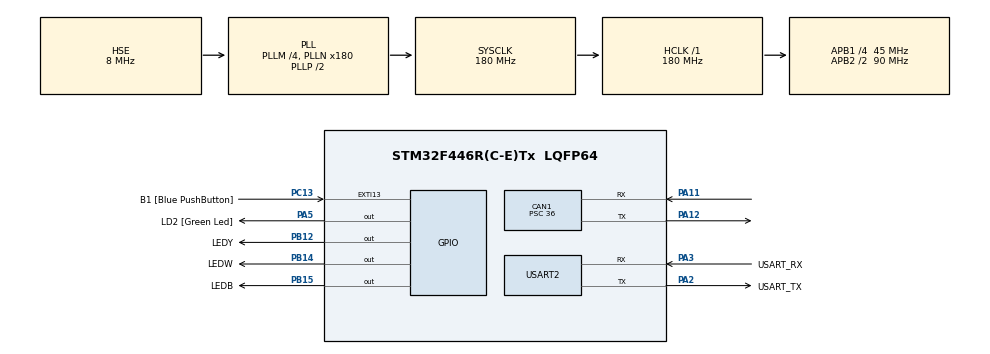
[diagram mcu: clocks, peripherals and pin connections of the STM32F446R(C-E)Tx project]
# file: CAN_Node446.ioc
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CAN1.BS1=CAN_BS1_16TQ
CAN1.BS2=CAN_BS2_8TQ
CAN1.CalculateBaudRate=50000
CAN1.CalculateTimeBit=20000
CAN1.CalculateTimeQuantum=800.0
CAN1.Mode=CAN_MODE_NORMAL
CAN1.Prescaler=36
Mcu.Family=STM32F4
Mcu.Name=STM32F446R(C-E)Tx
Mcu.Package=LQFP64
NVIC.CAN1_RX0_IRQn=true\:11\:0\:true\:false\:true\:true\:true\:true
NVIC.CAN1_RX1_IRQn=true\:11\:0\:true\:false\:true\:true\:true\:true
NVIC.EXTI15_10_IRQn=true\:14\:0\:true\:false\:true\:true\:true\:true
NVIC.PriorityGroup=NVIC_PRIORITYGROUP_4
NVIC.TIM6_DAC_IRQn=true\:14\:0\:true\:false\:true\:true\:true\:true
NVIC.USART2_IRQn=true\:10\:0\:true\:false\:true\:true\:true\:true
PA11.Mode=CAN_Activate
PA11.Signal=CAN1_RX
PA12.Mode=CAN_Activate
PA12.Signal=CAN1_TX
PA13.GPIO_Label=TMS
PA13.Mode=Serial_Wire
PA13.Signal=SYS_JTMS-SWDIO
PA14.GPIO_Label=TCK
PA14.Mode=Serial_Wire
PA14.Signal=SYS_JTCK-SWCLK
PA2.GPIO_Label=USART_TX
PA2.Mode=Asynchronous
PA2.Signal=USART2_TX
PA3.GPIO_Label=USART_RX
PA3.Mode=Asynchronous
PA3.Signal=USART2_RX
PA5.GPIO_Label=LD2 [Green Led]
PA5.Signal=GPIO_Output
PB12.GPIO_Label=LEDY
PB12.Signal=GPIO_Output
PB14.GPIO_Label=LEDW
PB14.Signal=GPIO_Output
PB15.GPIO_Label=LEDB
PB15.Signal=GPIO_Output
PB3.GPIO_Label=SWO
PB3.Signal=SYS_JTDO-SWO
PC13.GPIO_Label=B1 [Blue PushButton]
PC13.GPIO_ModeDefaultEXTI=GPIO_MODE_IT_FALLING
PC13.Signal=GPXTI13
PC14-OSC32_IN.Mode=LSE-External-Oscillator
PC14-OSC32_IN.Signal=RCC_OSC32_IN
PC15-OSC32_OUT.Mode=LSE-External-Oscillator
PC15-OSC32_OUT.Signal=RCC_OSC32_OUT
PH0-OSC_IN.Mode=HSE-External-Clock-Source
PH0-OSC_IN.Signal=RCC_OSC_IN
PH1-OSC_OUT.Mode=HSE-External-Clock-Source
PH1-OSC_OUT.Signal=RCC_OSC_OUT
ProjectManager.HeapSize=0x200
ProjectManager.StackSize=0x400
ProjectManager.TargetToolchain=STM32CubeIDE
RCC.48MHZClocksFreq_Value=84000000
RCC.AHBFreq_Value=180000000
RCC.APB1CLKDivider=RCC_HCLK_DIV4
RCC.APB1Freq_Value=45000000
RCC.APB1TimFreq_Value=90000000
RCC.APB2CLKDivider=RCC_HCLK_DIV2
RCC.APB2Freq_Value=90000000
RCC.APB2TimFreq_Value=180000000
RCC.CortexFreq_Value=180000000
RCC.FLatency-AdvancedSettings=FLASH_LATENCY_5
RCC.HCLKFreq_Value=180000000
RCC.HSE_VALUE=8000000
RCC.HSI_VALUE=16000000
RCC.PLLM=4
RCC.PLLN=180
RCC.PLLSourceVirtual=RCC_PLLSOURCE_HSE
RCC.SYSCLKFreq_VALUE=180000000
RCC.SYSCLKSource=RCC_SYSCLKSOURCE_PLLCLK
RCC.USBFreq_Value=180000000
RCC.VCOOutputFreq_Value=360000000
TIM6.AutoReloadPreload=TIM_AUTORELOAD_PRELOAD_ENABLE
TIM6.Period=50000
TIM6.Prescaler=900
USART2.VirtualMode=VM_ASYNC
VP_TIM6_VS_ClockSourceINT.Mode=Enable_Timer
board=NUCLEO-F446RE

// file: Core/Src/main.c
/* USER CODE BEGIN Header */
/**
  ******************************************************************************
  * @file           : main.c
  * @brief          : Main program body
  ******************************************************************************
  * @attention
  *
  * Copyright (c) 2022 STMicroelectronics.
  * All rights reserved.
  *
  * This software is licensed under terms that can be found in the LICENSE file
  * in the root directory of this software component.
  * If no LICENSE file comes with this software, it is provided AS-IS.
  *
  ******************************************************************************
  */
/* USER CODE END Header */
#include "main.h"

/* USER CODE BEGIN Includes */
#include "FLASH_M4.h"
#include <string.h>
#include "stdio.h"
/* USER CODE END Includes */

/* USER CODE BEGIN PD */
#define	FLASH_BASE_SECTOR_ADDRESS			0x08060000U
#define START_FRAME							(uint8_t)0x4A
#define END_FRAME							(uint8_t)0x56

/* USER CODE END PD */

 CAN_HandleTypeDef hcan1;

TIM_HandleTypeDef htim6;

UART_HandleTypeDef huart2;

/* USER CODE BEGIN PV */

// ************** CAN related variables **************** //
CAN_FilterTypeDef CANFilter;
CAN_TxHeaderTypeDef CANTXHeader;
CAN_RxHeaderTypeDef CANRXHeader;
uint8_t CANTXBuffer[8];
uint8_t CANRXBuffer[8];
uint32_t CANMailbox;
volatile uint8_t CANInitFlag = 0;
volatile uint8_t CANStopFlag = 0;
volatile uint8_t CANSendDataFlag = 0;
volatile uint8_t isCANConfig = 0;
volatile uint8_t CANSendData = 0;

uint32_t CANParamemeters[30] = {};

typedef enum {
	waitCmd = 0,
	CANListen,
	CANStop,
	resetMCU,
	writeFlashBuffer,
	readFlashBuffer,
	writeFlashBufferToFlash,
	readFlashToFlashBuffer,
	writeDefaultToFlash,
	CANStart
}StateType;

StateType state;

uint32_t flashBuffer[30];
volatile uint8_t writeFlashFlag = 0;

uint32_t counter = 0;
uint8_t aux;

// ************* UART related variables ************** //
uint8_t uRXBuffer[10];
volatile uint8_t cmdReceivedFlag = 0;

typedef struct {
	uint8_t startFrame;
	uint8_t actionCode;
	uint8_t bufferAddress;
	union {
		uint32_t word;
		uint8_t byte[4];
	} data;
	union {
		uint16_t hWord;
		uint8_t byte[2];
	} errorCheck;
	uint8_t endFrame;
} CommandFrameType;

CommandFrameType uCommand;

/* USER CODE END PV */

void SystemClock_Config(void);
static void MX_GPIO_Init(void);
static void MX_USART2_UART_Init(void);
static void MX_CAN1_Init(void);
static void MX_TIM6_Init(void);
/* USER CODE BEGIN PFP */
void CANFilterConfiguration(CAN_FilterTypeDef *_CANFilter);
void CANInit(void);
void CANConfig(void);

void CANFlashDefaults(void);
void loadParamFromFlash(void);
/* USER CODE END PFP */

/* USER CODE BEGIN 0 */
char *initMsg[5] = {
		"//**********************************************//\r\n",
		"// *****           CANbus Reader          ***** //\r\n",
		"// *****     Prototype version v1.0.1     ***** //\r\n",
		"// *****    Designed by: JD Villarroel    ***** //\r\n",
		"//**********************************************//\r\n"
};

/* USER CODE END 0 */

int main(void)
{

  /* MCU Configuration--------------------------------------------------------*/

  /* Reset of all peripherals, Initializes the Flash interface and the Systick. */
  HAL_Init();

  /* Configure the system clock */
  SystemClock_Config();

  /* Initialize all configured peripherals */
  MX_GPIO_Init();
  MX_USART2_UART_Init();
  MX_CAN1_Init();
  MX_TIM6_Init();
  /* USER CODE BEGIN 2 */

  // Send initial message to a serial console.
  for (aux = 0; aux < 5; aux++)
  {
	  HAL_UART_Transmit(&huart2, (uint8_t*)initMsg[aux], strlen(initMsg[aux]), 1000);
  }

  // Initialize interrupt reception from console.
  HAL_UART_Receive_IT(&huart2, uRXBuffer, 10);

  // Load params from flash.
  loadParamFromFlash();

  // Initialize timer with interrupts.
  HAL_TIM_Base_Start_IT(&htim6);

  /* USER CODE END 2 */

  /* Infinite loop */
  /* USER CODE BEGIN WHILE */
  while (1)
  {
	  // Check for received commands from console.
	  switch(state)
	  {
		  case waitCmd:
			  break;

		  case CANListen:
			  CANConfig();
			  CANSendData = 0;
			  state = waitCmd;
			  break;

		  case CANStop:
			  CANSendData = 0;
			  break;

		  case resetMCU:
			  HAL_NVIC_SystemReset();
			  break;

		  case writeFlashBuffer:
			  flashBuffer[uCommand.bufferAddress] = uCommand.data.word;
			  state = waitCmd;
			  break;

		  case readFlashBuffer:
			  break;

		  case writeFlashBufferToFlash:
			  Flash_Write_Data(FLASH_BASE_SECTOR_ADDRESS, flashBuffer, 30);
			  state = waitCmd;
			  break;

		  case readFlashToFlashBuffer:
			  break;

		  case writeDefaultToFlash:
			  CANFlashDefaults();
			  state = waitCmd;
			  break;

		  case CANStart:
			  CANConfig();
			  CANSendData = 1;
			  state = waitCmd;
			  break;

		  default:
			  break;
	  }

	  if (CANSendDataFlag && CANSendData)
	  {
		  // Put data in buffer to be transmitted.
		  if (HAL_CAN_AddTxMessage(&hcan1, &CANTXHeader, CANTXBuffer, &CANMailbox) != HAL_OK)
		  {
			  Error_Handler();
		  }

		  HAL_GPIO_TogglePin(LEDW_GPIO_Port, LEDW_Pin);

		  // Reset flag.
		  CANSendDataFlag = 0;
	  }
    /* USER CODE END WHILE */

  }
}

void SystemClock_Config(void)
{
  RCC_OscInitTypeDef RCC_OscInitStruct = {0};
  RCC_ClkInitTypeDef RCC_ClkInitStruct = {0};

  /** Configure the main internal regulator output voltage
  */
  __HAL_RCC_PWR_CLK_ENABLE();
  __HAL_PWR_VOLTAGESCALING_CONFIG(PWR_REGULATOR_VOLTAGE_SCALE1);

  /** Initializes the RCC Oscillators according to the specified parameters
  * in the RCC_OscInitTypeDef structure.
  */
  RCC_OscInitStruct.OscillatorType = RCC_OSCILLATORTYPE_HSE;
  RCC_OscInitStruct.HSEState = RCC_HSE_BYPASS;
  RCC_OscInitStruct.PLL.PLLState = RCC_PLL_ON;
  RCC_OscInitStruct.PLL.PLLSource = RCC_PLLSOURCE_HSE;
  RCC_OscInitStruct.PLL.PLLM = 4;
  RCC_OscInitStruct.PLL.PLLN = 180;
  RCC_OscInitStruct.PLL.PLLP = RCC_PLLP_DIV2;
  RCC_OscInitStruct.PLL.PLLQ = 2;
  RCC_OscInitStruct.PLL.PLLR = 2;
  if (HAL_RCC_OscConfig(&RCC_OscInitStruct) != HAL_OK)
  {
    Error_Handler();
  }

  /** Activate the Over-Drive mode
  */
  if (HAL_PWREx_EnableOverDrive() != HAL_OK)
  {
    Error_Handler();
  }

  /** Initializes the CPU, AHB and APB buses clocks
  */
  RCC_ClkInitStruct.ClockType = RCC_CLOCKTYPE_HCLK|RCC_CLOCKTYPE_SYSCLK
                              |RCC_CLOCKTYPE_PCLK1|RCC_CLOCKTYPE_PCLK2;
  RCC_ClkInitStruct.SYSCLKSource = RCC_SYSCLKSOURCE_PLLCLK;
  RCC_ClkInitStruct.AHBCLKDivider = RCC_SYSCLK_DIV1;
  RCC_ClkInitStruct.APB1CLKDivider = RCC_HCLK_DIV4;
  RCC_ClkInitStruct.APB2CLKDivider = RCC_HCLK_DIV2;

  if (HAL_RCC_ClockConfig(&RCC_ClkInitStruct, FLASH_LATENCY_5) != HAL_OK)
  {
    Error_Handler();
  }
}

static void MX_CAN1_Init(void)
{

  hcan1.Instance = CAN1;
  hcan1.Init.Prescaler = 36;
  hcan1.Init.Mode = CAN_MODE_NORMAL;
  hcan1.Init.SyncJumpWidth = CAN_SJW_1TQ;
  hcan1.Init.TimeSeg1 = CAN_BS1_16TQ;
  hcan1.Init.TimeSeg2 = CAN_BS2_8TQ;
  hcan1.Init.TimeTriggeredMode = DISABLE;
  hcan1.Init.AutoBusOff = DISABLE;
  hcan1.Init.AutoWakeUp = DISABLE;
  hcan1.Init.AutoRetransmission = DISABLE;
  hcan1.Init.ReceiveFifoLocked = DISABLE;
  hcan1.Init.TransmitFifoPriority = DISABLE;
  if (HAL_CAN_Init(&hcan1) != HAL_OK)
  {
    Error_Handler();
  }

}

static void MX_TIM6_Init(void)
{

  TIM_MasterConfigTypeDef sMasterConfig = {0};

  htim6.Instance = TIM6;
  htim6.Init.Prescaler = 900;
  htim6.Init.CounterMode = TIM_COUNTERMODE_UP;
  htim6.Init.Period = 50000;
  htim6.Init.AutoReloadPreload = TIM_AUTORELOAD_PRELOAD_ENABLE;
  if (HAL_TIM_Base_Init(&htim6) != HAL_OK)
  {
    Error_Handler();
  }
  sMasterConfig.MasterOutputTrigger = TIM_TRGO_RESET;
  sMasterConfig.MasterSlaveMode = TIM_MASTERSLAVEMODE_DISABLE;
  if (HAL_TIMEx_MasterConfigSynchronization(&htim6, &sMasterConfig) != HAL_OK)
  {
    Error_Handler();
  }

}

static void MX_USART2_UART_Init(void)
{

  huart2.Instance = USART2;
  huart2.Init.BaudRate = 115200;
  huart2.Init.WordLength = UART_WORDLENGTH_8B;
  huart2.Init.StopBits = UART_STOPBITS_1;
  huart2.Init.Parity = UART_PARITY_NONE;
  huart2.Init.Mode = UART_MODE_TX_RX;
  huart2.Init.HwFlowCtl = UART_HWCONTROL_NONE;
  huart2.Init.OverSampling = UART_OVERSAMPLING_16;
  if (HAL_UART_Init(&huart2) != HAL_OK)
  {
    Error_Handler();
  }

}

static void MX_GPIO_Init(void)
{
  GPIO_InitTypeDef GPIO_InitStruct = {0};

  /* GPIO Ports Clock Enable */
  __HAL_RCC_GPIOC_CLK_ENABLE();
  __HAL_RCC_GPIOH_CLK_ENABLE();
  __HAL_RCC_GPIOA_CLK_ENABLE();
  __HAL_RCC_GPIOB_CLK_ENABLE();

  /*Configure GPIO pin Output Level */
  HAL_GPIO_WritePin(LD2_GPIO_Port, LD2_Pin, GPIO_PIN_RESET);

  /*Configure GPIO pin Output Level */
  HAL_GPIO_WritePin(GPIOB, LEDY_Pin|LEDW_Pin|LEDB_Pin, GPIO_PIN_RESET);

  /*Configure GPIO pin : B1_Pin */
  GPIO_InitStruct.Pin = B1_Pin;
  GPIO_InitStruct.Mode = GPIO_MODE_IT_FALLING;
  GPIO_InitStruct.Pull = GPIO_NOPULL;
  HAL_GPIO_Init(B1_GPIO_Port, &GPIO_InitStruct);

  /*Configure GPIO pin : LD2_Pin */
  GPIO_InitStruct.Pin = LD2_Pin;
  GPIO_InitStruct.Mode = GPIO_MODE_OUTPUT_PP;
  GPIO_InitStruct.Pull = GPIO_NOPULL;
  GPIO_InitStruct.Speed = GPIO_SPEED_FREQ_LOW;
  HAL_GPIO_Init(LD2_GPIO_Port, &GPIO_InitStruct);

  /*Configure GPIO pins : LEDY_Pin LEDW_Pin LEDB_Pin */
  GPIO_InitStruct.Pin = LEDY_Pin|LEDW_Pin|LEDB_Pin;
  GPIO_InitStruct.Mode = GPIO_MODE_OUTPUT_PP;
  GPIO_InitStruct.Pull = GPIO_NOPULL;
  GPIO_InitStruct.Speed = GPIO_SPEED_FREQ_LOW;
  HAL_GPIO_Init(GPIOB, &GPIO_InitStruct);

  /* EXTI interrupt init*/
  HAL_NVIC_SetPriority(EXTI15_10_IRQn, 14, 0);
  HAL_NVIC_EnableIRQ(EXTI15_10_IRQn);

}

/* USER CODE BEGIN 4 */
void CANFilterConfiguration(CAN_FilterTypeDef *_CANFilter)
{
	// Initialize filters.
	if (HAL_CAN_ConfigFilter(&hcan1, _CANFilter) != HAL_OK)
	{
		Error_Handler();
	}
}

void CANInit(void)
{
	hcan1.Instance = CAN1;
	hcan1.Init.Prescaler = CANParamemeters[29];
	hcan1.Init.Mode = CANParamemeters[1];
	hcan1.Init.SyncJumpWidth = CANParamemeters[2];
	hcan1.Init.TimeSeg1 = CANParamemeters[3];
	hcan1.Init.TimeSeg2 = CANParamemeters[4];
	hcan1.Init.TimeTriggeredMode = CANParamemeters[5];
	hcan1.Init.AutoBusOff = CANParamemeters[6];
	hcan1.Init.AutoWakeUp = CANParamemeters[7];
	hcan1.Init.AutoRetransmission = CANParamemeters[8];
	hcan1.Init.ReceiveFifoLocked = CANParamemeters[9];
	hcan1.Init.TransmitFifoPriority = CANParamemeters[10];
	if (HAL_CAN_Init(&hcan1) != HAL_OK)
	{
		Error_Handler();
	}

	CANFilter.FilterActivation = CANParamemeters[11];
	CANFilter.FilterBank = CANParamemeters[12];
	CANFilter.FilterFIFOAssignment = CANParamemeters[13];
	CANFilter.FilterIdHigh = CANParamemeters[14];
	CANFilter.FilterIdLow = CANParamemeters[15];
	CANFilter.FilterMaskIdHigh = CANParamemeters[16];
	CANFilter.FilterMaskIdLow = CANParamemeters[17];
	CANFilter.FilterMode = CANParamemeters[18];
	CANFilter.FilterScale = CANParamemeters[19];
	CANFilter.SlaveStartFilterBank = CANParamemeters[20];
}
void CANConfig(void)
{
	CANInit();

	// Initialize Filters.
	CANFilterConfiguration(&CANFilter);

	isCANConfig = 1;

	// Start CAN module.
	HAL_CAN_Start(&hcan1);

	// Activate interrupt mask.
	HAL_CAN_ActivateNotification(&hcan1, CAN_IT_RX_FIFO0_MSG_PENDING);

	CANTXHeader.DLC = CANParamemeters[21];
	CANTXHeader.ExtId = CANParamemeters[22];
	CANTXHeader.IDE = CANParamemeters[23];
	CANTXHeader.RTR = CANParamemeters[24];
	CANTXHeader.StdId = CANParamemeters[25];
	CANTXHeader.TransmitGlobalTime = CANParamemeters[26];

	CANTXBuffer[0] = 'C';
	CANTXBuffer[1] = 'A';
	CANTXBuffer[2] = 'N';
	CANTXBuffer[3] = ' ';
	CANTXBuffer[4] = 'I';
	CANTXBuffer[5] = 'n';
	CANTXBuffer[6] = 'i';
	CANTXBuffer[7] = 't';

	HAL_CAN_AddTxMessage(&hcan1, &CANTXHeader, CANTXBuffer, &CANMailbox);
}

void HAL_TIM_PeriodElapsedCallback(TIM_HandleTypeDef *htim)
{
	HAL_GPIO_TogglePin(LEDY_GPIO_Port, LEDY_Pin);

	counter++;
	if (counter >= 6)
	{
//		CANInitFlag = 1;
		CANSendDataFlag = 1;
		counter = 0;
	}
}

void HAL_CAN_RxFifo0MsgPendingCallback(CAN_HandleTypeDef *hcan)
{
	char msg[30];

	HAL_GPIO_TogglePin(LEDB_GPIO_Port, LEDB_Pin);

	if (HAL_CAN_GetRxMessage(hcan, CAN_FILTER_FIFO0, &CANRXHeader, CANRXBuffer))
	{
		Error_Handler();
	}

	sprintf(
			msg,
			"NodeID: %x  %x %x %x %x %x %x %x %x\r\n",
			CANRXHeader.StdId,
			CANRXBuffer[0],
			CANRXBuffer[1],
			CANRXBuffer[2],
			CANRXBuffer[3],
			CANRXBuffer[4],
			CANRXBuffer[5],
			CANRXBuffer[6],
			CANRXBuffer[7]
			);

//	sprintf(msg, "Data received...\r\n");

	HAL_UART_Transmit(&huart2, (uint8_t*)msg, strlen(msg), 100);
}

void HAL_UART_RxCpltCallback(UART_HandleTypeDef *huart)
{
	if (huart->Instance == USART2)
	{
		// Transmit data received for verification.
		HAL_UART_Transmit_IT(huart, uRXBuffer, 10);

		// Transfer data received to command structure.
		uCommand.startFrame = uRXBuffer[0];
		uCommand.actionCode = uRXBuffer[1];
		uCommand.bufferAddress = uRXBuffer[2];
		uCommand.data.byte[0] = uRXBuffer[3];
		uCommand.data.byte[1] = uRXBuffer[4];
		uCommand.data.byte[2] = uRXBuffer[5];
		uCommand.data.byte[3] = uRXBuffer[6];
		uCommand.errorCheck.byte[0] = uRXBuffer[7];
		uCommand.errorCheck.byte[1] = uRXBuffer[8];
		uCommand.endFrame = uRXBuffer[9];

		// Verify start and end frame to continue.
		if (uCommand.startFrame == START_FRAME && uCommand.endFrame == END_FRAME)
		{
		  state = uCommand.actionCode;
		}

		// Receive command flag set.
		cmdReceivedFlag = 1;

		// Enable UART reception using interrupts.
		HAL_UART_Receive_IT(huart, uRXBuffer, 10);
	}
}

void loadParamFromFlash(void)
{
	char *msgOK = "Parameters loaded OK\r\n";

	Flash_Read_Data(FLASH_BASE_SECTOR_ADDRESS, flashBuffer, 30);

	for (uint8_t i = 0; i < 30; i++)
	{
		CANParamemeters[i] = flashBuffer[i];
//		writeFlashBuffer[i] = readFlashBuffer[i];
	}

	HAL_UART_Transmit(&huart2, (uint8_t*)msgOK, strlen(msgOK), 100);
}

void CANFlashDefaults(void)
{
	flashBuffer[29] = 36;
	flashBuffer[1] = CAN_MODE_LOOPBACK;
	flashBuffer[2] = CAN_SJW_1TQ;
	flashBuffer[3] = CAN_BS1_16TQ;
	flashBuffer[4] = CAN_BS2_8TQ;
	flashBuffer[5] = DISABLE;
	flashBuffer[6] = DISABLE;
	flashBuffer[7] = DISABLE;
	flashBuffer[8] = DISABLE;
	flashBuffer[9] = DISABLE;
	flashBuffer[10] = DISABLE;

	/*
	 * This group of parameters correspond to the CAN filter structure.
	 */
	flashBuffer[11] = CAN_FILTER_ENABLE;			// FilterActivation
	flashBuffer[12] = 0;							// FilterBank
	flashBuffer[13] = CAN_FILTER_FIFO0;				// FilterFIFOAssignment
	flashBuffer[14] = 0x0;							// FilterIdHigh
	flashBuffer[15] = 0x0;							// FilterIdLow
	flashBuffer[16] = 0x0;							// FilterMaskIdHigh
	flashBuffer[17] = 0x0;							// FilterMaskIdLow
	flashBuffer[18] = CAN_FILTERMODE_IDMASK;		// FilterMode
	flashBuffer[19] = CAN_FILTERSCALE_32BIT;		// FilterScale
	flashBuffer[20] = 13;							// SlaveStartFilterBank

	flashBuffer[21] = 8;							// DLC
	flashBuffer[22] = 0;							// ExtId
	flashBuffer[23] = CAN_ID_STD;					// IDE
	flashBuffer[24] = CAN_RTR_DATA;					// RTR
	flashBuffer[25] = 0x446;						// StdId
	flashBuffer[26] = DISABLE;						// TransmitGlobalTime

  Flash_Write_Data((FLASH_BASE_SECTOR_ADDRESS), flashBuffer, 30);
}
/* USER CODE END 4 */

void Error_Handler(void)
{
  __disable_irq();
  while (1)
  {
  }
}
